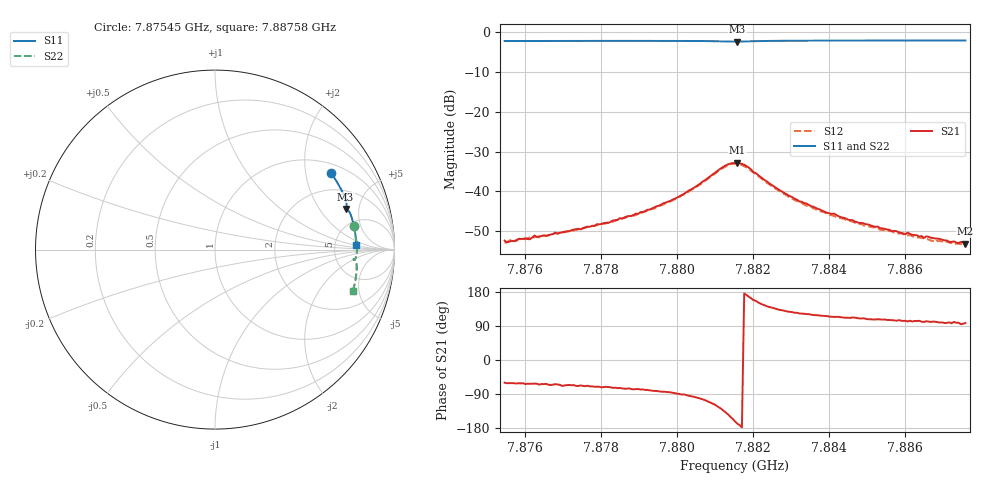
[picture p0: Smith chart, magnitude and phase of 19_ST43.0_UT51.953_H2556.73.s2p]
#  HZ  S  DB  R  50.00
! Rohde & Schwarz Vector Network Analyzer
! Rohde-Schwarz,ZNB20-2Port,1311601062101988,3.16
! Created: UTC 1/12/2023, 6:30:29 PM
! freq[Hz]  db:S11  ang:S11  db:S21  ang:S21  db:S12  ang:S12  db:S22  ang:S22
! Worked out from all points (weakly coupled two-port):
!   201 points, 7.87545 GHz to 7.88758 GHz, reference 50 ohm
!   highest |S21| = -32.78 dB at 7.88158 GHz (marker M1); lowest = -53.2 dB at 7.88758 GHz (marker M2)
!   lowest |S11| = -2.4 dB at 7.88158 GHz (marker M3), VSWR 7.39, Z = 167 + j180 ohm
!   |S11| at or under -10 dB: nowhere
!   |S22| runs from -2.2 to -1.9 dB; largest |S21 - S12| = 0.0017
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7.875452e9  -2.22 33.3  -52.41 -59.7  -52.93 -63.1  -2.12 9.5
7.875512e9  -2.22 33.2  -52.81 -61.4  -52.83 -62.8  -2.12 9.3
7.875755e9  -2.21 32.5  -52.35 -62.0  -52.55 -62.6  -2.11 8.8
7.875816e9  -2.22 32.3  -51.99 -61.4  -51.98 -65.1  -2.11 8.6
7.876119e9  -2.21 31.5  -52.05 -62.9  -51.63 -68.2  -2.11 7.9
7.87624e9  -2.21 31.2  -51.12 -62.3  -51.56 -66.5  -2.10 7.6
7.876604e9  -2.20 30.2  -51.06 -65.1  -51.10 -67.4  -2.10 6.8
7.877514e9  -2.19 27.7  -49.31 -68.4  -49.23 -71.7  -2.07 4.7
7.878484e9  -2.17 25.0  -46.77 -73.9  -47.21 -76.6  -2.05 2.5
7.879516e9  -2.17 22.2  -43.64 -82.6  -43.75 -86.0  -2.04 0.0
7.880183e9  -2.18 20.3  -40.60 -90.8  -40.77 -95.0  -2.04 -1.7
7.881274e9  -2.33 17.4  -33.48 -138.2  -33.71 -141.6  -2.20 -4.1
7.881517e9  -2.36 17.3  -32.94 -162.0  -33.04 -164.2  -2.23 -4.1
7.881578e9  -2.36 17.3  -32.78 -167.9  -33.10 -170.1  -2.23 -4.0
7.881881e9  -2.30 17.1  -34.05 166.9  -34.41 163.4  -2.17 -4.1
7.882912e9  -2.15 14.3  -40.98 127.8  -41.28 124.5  -2.01 -6.4
7.883579e9  -2.12 12.4  -43.87 118.7  -44.27 116.1  -1.97 -8.0
7.884489e9  -2.10 9.9  -47.12 111.6  -47.20 108.2  -1.96 -10.1
7.885581e9  -2.09 7.1  -49.66 105.5  -50.01 102.1  -1.93 -12.5
7.886491e9  -2.08 4.7  -51.75 100.4  -51.82 98.3  -1.93 -14.5
7.886612e9  -2.08 4.4  -51.42 101.3  -52.13 97.7  -1.92 -14.8
7.887582e9  -2.08 1.8  -53.18 97.7  -53.80 93.7  -1.91 -16.8
